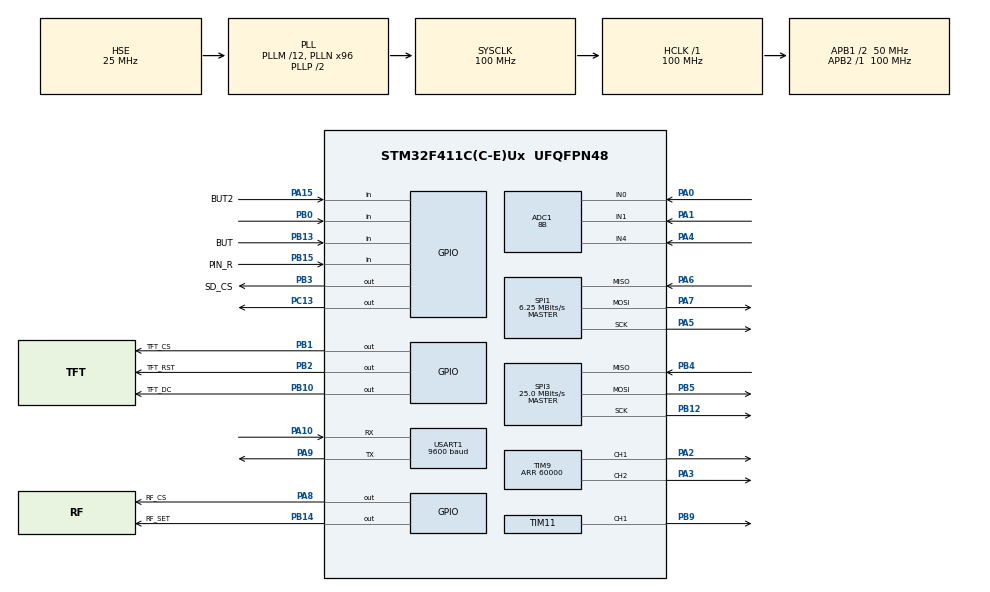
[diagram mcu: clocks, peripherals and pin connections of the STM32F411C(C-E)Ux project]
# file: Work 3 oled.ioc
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ADC1.Channel-10\#ChannelRegularConversion=ADC_CHANNEL_1
ADC1.Channel-11\#ChannelRegularConversion=ADC_CHANNEL_0
ADC1.Channel-14\#ChannelRegularConversion=ADC_CHANNEL_4
ADC1.ClockPrescaler=ADC_CLOCK_SYNC_PCLK_DIV4
ADC1.ContinuousConvMode=DISABLE
ADC1.DMAContinuousRequests=ENABLE
ADC1.InjNumberOfConversion=0
ADC1.NbrOfConversion=3
ADC1.NbrOfConversionFlag=1
ADC1.Rank-10\#ChannelRegularConversion=1
ADC1.Rank-11\#ChannelRegularConversion=2
ADC1.Rank-14\#ChannelRegularConversion=3
ADC1.Resolution=ADC_RESOLUTION_8B
ADC1.SamplingTime-10\#ChannelRegularConversion=ADC_SAMPLETIME_3CYCLES
ADC1.SamplingTime-11\#ChannelRegularConversion=ADC_SAMPLETIME_3CYCLES
ADC1.SamplingTime-14\#ChannelRegularConversion=ADC_SAMPLETIME_3CYCLES
ADC1.ScanConvMode=ENABLE
ADC1.master=1
Dma.ADC1.0.Direction=DMA_PERIPH_TO_MEMORY
Dma.ADC1.0.FIFOMode=DMA_FIFOMODE_ENABLE
Dma.ADC1.0.FIFOThreshold=DMA_FIFO_THRESHOLD_HALFFULL
Dma.ADC1.0.Instance=DMA2_Stream0
Dma.ADC1.0.MemBurst=DMA_MBURST_SINGLE
Dma.ADC1.0.MemDataAlignment=DMA_MDATAALIGN_HALFWORD
Dma.ADC1.0.MemInc=DMA_MINC_ENABLE
Dma.ADC1.0.Mode=DMA_CIRCULAR
Dma.ADC1.0.PeriphBurst=DMA_PBURST_SINGLE
Dma.ADC1.0.PeriphDataAlignment=DMA_PDATAALIGN_HALFWORD
Dma.ADC1.0.PeriphInc=DMA_PINC_DISABLE
Dma.ADC1.0.Priority=DMA_PRIORITY_MEDIUM
Dma.Request0=ADC1
FATFS._MAX_SS=4096
FATFS._USE_LFN=1
Mcu.Family=STM32F4
Mcu.Name=STM32F411C(C-E)Ux
Mcu.Package=UFQFPN48
NVIC.DMA2_Stream0_IRQn=true\:0\:0\:false\:false\:true\:false\:true\:true
NVIC.PriorityGroup=NVIC_PRIORITYGROUP_4
NVIC.RCC_IRQn=true\:0\:0\:false\:false\:true\:true\:false\:true
NVIC.SPI1_IRQn=true\:0\:0\:false\:false\:true\:true\:true\:true
NVIC.SPI3_IRQn=true\:0\:0\:false\:false\:true\:true\:true\:true
NVIC.TIM1_BRK_TIM9_IRQn=true\:0\:0\:false\:false\:true\:true\:true\:true
NVIC.TIM1_TRG_COM_TIM11_IRQn=true\:0\:0\:false\:false\:true\:true\:true\:true
NVIC.TIM1_UP_TIM10_IRQn=true\:0\:0\:false\:false\:true\:true\:true\:true
NVIC.TIM4_IRQn=true\:0\:0\:false\:false\:true\:true\:true\:true
NVIC.USART1_IRQn=true\:0\:0\:false\:false\:true\:true\:true\:true
PA0-WKUP.Signal=ADCx_IN0
PA1.Signal=ADCx_IN1
PA10.Mode=Asynchronous
PA10.Signal=USART1_RX
PA13.Mode=Serial_Wire
PA13.Signal=SYS_JTMS-SWDIO
PA14.Mode=Serial_Wire
PA14.Signal=SYS_JTCK-SWCLK
PA15.GPIO_Label=BUT2
PA15.GPIO_PuPd=GPIO_PULLUP
PA15.Signal=GPIO_Input
PA2.Signal=S_TIM9_CH1
PA3.Signal=S_TIM9_CH2
PA4.Signal=ADCx_IN4
PA5.Mode=Full_Duplex_Master
PA5.Signal=SPI1_SCK
PA6.Mode=Full_Duplex_Master
PA6.Signal=SPI1_MISO
PA7.Mode=Full_Duplex_Master
PA7.Signal=SPI1_MOSI
PA8.GPIO_Label=RF_CS
PA8.Signal=GPIO_Output
PA9.Mode=Asynchronous
PA9.Signal=USART1_TX
PB0.GPIO_PuPd=GPIO_PULLUP
PB0.Signal=GPIO_Input
PB1.GPIO_Label=TFT_CS
PB1.GPIO_Speed=GPIO_SPEED_FREQ_HIGH
PB1.Signal=GPIO_Output
PB10.GPIO_Label=TFT_DC
PB10.GPIO_Speed=GPIO_SPEED_FREQ_HIGH
PB10.Signal=GPIO_Output
PB12.Mode=Full_Duplex_Master
PB12.Signal=SPI3_SCK
PB13.GPIO_Label=BUT
PB13.GPIO_PuPd=GPIO_PULLUP
PB13.Signal=GPIO_Input
PB14.GPIO_Label=RF_SET
PB14.Signal=GPIO_Output
PB15.GPIO_Label=PIN_R
PB15.GPIO_PuPd=GPIO_NOPULL
PB15.Signal=GPIO_Input
PB2.GPIO_Label=TFT_RST
PB2.GPIO_ModeDefaultOutputPP=GPIO_MODE_OUTPUT_PP
PB2.GPIO_PuPd=GPIO_NOPULL
PB2.Signal=GPIO_Output
PB3.GPIO_Label=SD_CS
PB3.GPIO_Speed=GPIO_SPEED_FREQ_MEDIUM
PB3.Signal=GPIO_Output
PB4.Mode=Full_Duplex_Master
PB4.Signal=SPI3_MISO
PB5.Mode=Full_Duplex_Master
PB5.Signal=SPI3_MOSI
PB9.Signal=S_TIM11_CH1
PC13-ANTI_TAMP.Signal=GPIO_Output
PH0\ -\ OSC_IN.Mode=HSE-External-Oscillator
PH0\ -\ OSC_IN.Signal=RCC_OSC_IN
PH1\ -\ OSC_OUT.Mode=HSE-External-Oscillator
PH1\ -\ OSC_OUT.Signal=RCC_OSC_OUT
ProjectManager.HeapSize=0x200
ProjectManager.StackSize=0x400
ProjectManager.TargetToolchain=STM32CubeIDE
RCC.48MHZClocksFreq_Value=40000000
RCC.AHBFreq_Value=100000000
RCC.APB1CLKDivider=RCC_HCLK_DIV2
RCC.APB1Freq_Value=50000000
RCC.APB1TimFreq_Value=100000000
RCC.APB2Freq_Value=100000000
RCC.APB2TimFreq_Value=100000000
RCC.CortexFreq_Value=100000000
RCC.HCLKFreq_Value=100000000
RCC.HSE_VALUE=25000000
RCC.HSI_VALUE=16000000
RCC.LSE_VALUE=32768
RCC.PLLM=12
RCC.PLLN=96
RCC.PLLQ=5
RCC.PLLSourceVirtual=RCC_PLLSOURCE_HSE
RCC.SYSCLKFreq_VALUE=100000000
RCC.SYSCLKSource=RCC_SYSCLKSOURCE_PLLCLK
RCC.VCOOutputFreq_Value=200000000
SH.ADCx_IN0.0=ADC1_IN0,IN0
SH.ADCx_IN1.0=ADC1_IN1,IN1
SH.ADCx_IN4.0=ADC1_IN4,IN4
SH.S_TIM11_CH1.0=TIM11_CH1,PWM Generation1 CH1
SH.S_TIM9_CH1.0=TIM9_CH1,PWM Generation1 CH1
SH.S_TIM9_CH2.0=TIM9_CH2,PWM Generation2 CH2
SPI1.BaudRatePrescaler=SPI_BAUDRATEPRESCALER_16
SPI1.CalculateBaudRate=6.25 MBits/s
SPI1.Direction=SPI_DIRECTION_2LINES
SPI1.Mode=SPI_MODE_MASTER
SPI1.VirtualType=VM_MASTER
SPI3.BaudRatePrescaler=SPI_BAUDRATEPRESCALER_2
SPI3.CalculateBaudRate=25.0 MBits/s
SPI3.Direction=SPI_DIRECTION_2LINES
SPI3.Mode=SPI_MODE_MASTER
SPI3.VirtualType=VM_MASTER
TIM10.Period=50
TIM10.Prescaler=50000
TIM11.Channel=TIM_CHANNEL_1
TIM4.Period=500
TIM4.Prescaler=50000
TIM9.Channel-PWM\ Generation1\ CH1=TIM_CHANNEL_1
TIM9.Channel-PWM\ Generation2\ CH2=TIM_CHANNEL_2
TIM9.OCMode_PWM-PWM\ Generation2\ CH2=TIM_OCMODE_PWM1
TIM9.Period=60000
TIM9.Pulse-PWM\ Generation1\ CH1=30000
TIM9.Pulse-PWM\ Generation2\ CH2=30000
USART1.BaudRate=9600
USART1.Parity=PARITY_NONE
USART1.VirtualMode=VM_ASYNC
VP_FATFS_VS_Generic.Mode=User_defined
VP_TIM10_VS_ClockSourceINT.Mode=Enable_Timer
VP_TIM11_VS_ClockSourceINT.Mode=Enable_Timer
VP_TIM4_VS_ClockSourceINT.Mode=Internal
board=custom

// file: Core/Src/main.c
/* USER CODE BEGIN Header */
/**
  ******************************************************************************
  * @file           : main.c
  * @brief          : Main program body
  ******************************************************************************
  * @attention
  *
  * <h2><center>&copy; Copyright (c) 2021 STMicroelectronics.
  * All rights reserved.</center></h2>
  *
  * This software component is licensed by ST under BSD 3-Clause license,
  * the "License"; You may not use this file except in compliance with the
  * License. You may obtain a copy of the License at:
  *                        opensource.org/licenses/BSD-3-Clause
  *
  ******************************************************************************
  */
/* USER CODE END Header */
#include "main.h"
#include "fatfs.h"

/* USER CODE BEGIN Includes */
#include "fonts.h"
#include "ST7735.h"
#include "GFX_FUNCTIONS.h"
//#include "string.h"
#include "sd.h"
#include <stdio.h>
#include <stdbool.h>
#include <stdlib.h>
//--------------------------------------------------
/* USER CODE END Includes */

 ADC_HandleTypeDef hadc1;
DMA_HandleTypeDef hdma_adc1;

SPI_HandleTypeDef hspi1;
SPI_HandleTypeDef hspi3;

TIM_HandleTypeDef htim4;
TIM_HandleTypeDef htim9;
TIM_HandleTypeDef htim10;
TIM_HandleTypeDef htim11;

UART_HandleTypeDef huart1;

void SystemClock_Config(void);
static void MX_GPIO_Init(void);
static void MX_DMA_Init(void);
static void MX_ADC1_Init(void);
static void MX_TIM9_Init(void);
static void MX_SPI1_Init(void);
static void MX_SPI3_Init(void);
static void MX_USART1_UART_Init(void);
static void MX_TIM4_Init(void);
static void MX_TIM10_Init(void);
static void MX_TIM11_Init(void);

/* USER CODE BEGIN 0 */
_Bool disk_init = true;

_Bool flag_Menu = true;
_Bool flag_Result = false;
_Bool flag_Grafic = false;
_Bool flag_Status = false;
_Bool flag_Setings = false;

int8_t flag_punkt = 1;

_Bool flag_1 = false;
_Bool flag_2 = false;
_Bool flag_3 = false;
_Bool flag_4 = false;

volatile uint16_t data[3];
float u[3];

uint8_t PWM_4 = 0;

float NUM = 0;
float NUM2 = 0;
float x = 255;

float temp[100];
float press[100];
float alt[100];
float gyro_x[100];
float accX[100];
float accY[100];
float accZ[100];

int num[100];

_Bool flag_ServoOff = false;
_Bool flag_but = false;
_Bool flag_but2 = false;
_Bool SIGNAL = false;

_Bool GraficOne = true;
_Bool ResultOne = true;
_Bool StatusOne = true;
_Bool SetingsOne = true;
_Bool flag_PIN_SET = true;
_Bool flag_PIN_CS = true;
_Bool flag_PWM_BLK = false;

int xt = 0;
int yt = 0;
int xt0 ;
int yt0 ;
int st = 15;
int st_2;
int servoData = 0;
int Batdata = 0;
int dis = 0;
int resive_OK = 1;
volatile uint16_t Timer1 = 0;

typedef struct
{
float temperature;
float pressure;
float altitude;
float gyroX;
float accX;
float accY;
float accZ;
} Str;
static Str transmit;

uint8_t PWM_BLINK = 0;
uint8_t sost;
uint8_t pers;

////////////////////

uint16_t i;
uint8_t sect[512];// Буффер для чтения блока

// Write
FRESULT res; //результат выполнения
uint8_t wtext[]="1111 \nHello";

FILINFO fileInfo;
char *fn;
DIR dir;
DWORD fre_clust, fre_sect, tot_sect;

extern char str1[60];
uint32_t byteswritten, bytesread;
uint8_t result;
extern char USERPath[4]; /* logical drive path */
FATFS SDFatFs;
FATFS *fs;
FIL MyFile; //FIL
////////////////////

uint8_t b;

//void TIM9_UP_IRQHandler(void)
//{
//
//}

uint16_t charger[] =
{

		0x0000, 0x0000, 0x0000, 0x0000, 0x0000, 0xe101, 0x0000, 0x0000, 0x0000, 0x0000, 0x0000, 0x0000, 0x0000, 0x0000, 0x0000,
		0x0000, 0x0000, 0x0000, 0x6101, 0xe405, 0x8607, 0x8304, 0x0000, 0x0000, 0x0000, 0x0000, 0x0000, 0x0000, 0x0000, 0x0000,
		0x0000, 0x2101, 0xc405, 0x4507, 0xa506, 0x8506, 0x4607, 0xa101, 0x0000, 0x0000, 0x0000, 0x0000, 0x0000, 0x0000, 0x0000,
		0xe303, 0xe607, 0xc506, 0x8506, 0x8506, 0x8506, 0x8506, 0x0507, 0x0000, 0x0000, 0x0000, 0x0000, 0x0000, 0x0000, 0x0000,
		0x0000, 0x0102, 0xe506, 0xe506, 0x8506, 0x8506, 0x8506, 0xc506, 0x8405, 0x0000, 0x0000, 0x0000, 0x0000, 0x0000, 0x0000,
		0x0000, 0x0000, 0x0000, 0xe303, 0x4607, 0x8506, 0x8506, 0x0507, 0x6000, 0x0000, 0x0000, 0x0000, 0x0000, 0x0000, 0x0000,
		0x0000, 0x0000, 0x0000, 0x0000, 0x6000, 0xe506, 0x8506, 0xa506, 0x4506, 0x0000, 0x0000, 0x0000, 0x0000, 0x0000, 0x0000,
		0x0000, 0x0000, 0x0000, 0x6000, 0xa607, 0xc506, 0x8506, 0x8506, 0xc506, 0x6506, 0x0000, 0x0000, 0x0000, 0x0000, 0x0000,
		0x0000, 0x0000, 0x0000, 0x0000, 0x0000, 0x0405, 0x4607, 0xa506, 0x8506, 0xc506, 0xa506, 0x2000, 0x0000, 0x0000, 0x0000,
		0x0000, 0x0000, 0x0000, 0x0000, 0x0000, 0x0000, 0x6101, 0x8506, 0xa506, 0xc506, 0x2304, 0x0000, 0x0000, 0x0000, 0x0000,
		0x0000, 0x0000, 0x0000, 0x0000, 0x0000, 0x0000, 0x0000, 0x2000, 0xc506, 0xa506, 0x2506, 0x0000, 0x0000, 0x0000, 0x0000,
		0x0000, 0x0000, 0x0000, 0x0000, 0x0000, 0x0000, 0x0000, 0xe303, 0x6607, 0xc506, 0xe506, 0xa304, 0x0000, 0x0000, 0x0000,
		0x0000, 0x0000, 0x0000, 0x0000, 0x0000, 0x0000, 0x0000, 0x0000, 0x0000, 0x6405, 0x4507, 0x6607, 0x4102, 0x0000, 0x0000,
		0x0000, 0x0000, 0x0000, 0x0000, 0x0000, 0x0000, 0x0000, 0x0000, 0x0000, 0x0000, 0xc101, 0xe506, 0xc607, 0x4000, 0x0000,
		0x0000, 0x0000, 0x0000, 0x0000, 0x0000, 0x0000, 0x0000, 0x0000, 0x0000, 0x0000, 0x0000, 0x0000, 0x0304, 0x4607, 0x0000,
		0x0000, 0x0000, 0x0000, 0x0000, 0x0000, 0x0000, 0x0000, 0x0000, 0x0000, 0x0000, 0x0000, 0x0000, 0x0000, 0xa000, 0x2203

};

uint16_t Strel[] =		// СТРЕЛКА - УКАЗАТЕЛЬ
{
		  0x0000, 0x0000, 0x0000, 0x1d05, 0x0000, 0x0000, 0x0000,
		  0x0000, 0x0000, 0x0000, 0x1d05, 0x1d05, 0x0000, 0x0000,
		  0x1d05, 0x1d05, 0x1d05, 0x1d05, 0x1d05, 0x0000, 0x0000,
		  0x1d05, 0x0000, 0x0000, 0x0000, 0x0000, 0x1d05, 0x0000,
		  0x1d05, 0x0000, 0x0000, 0x0000, 0x0000, 0x0000, 0x1d05,
		  0x1d05, 0x0000, 0x0000, 0x0000, 0x0000, 0x0000, 0x1d05,
		  0x1d05, 0x0000, 0x0000, 0x0000, 0x0000, 0x1d05, 0x0000,
		  0x1d05, 0x1d05, 0x1d05, 0x1d05, 0x1d05, 0x0000, 0x0000,
		  0x0000, 0x0000, 0x0000, 0x1d05, 0x1d05, 0x0000, 0x0000,
		  0x0000, 0x0000, 0x0000, 0x1d05, 0x0000, 0x0000, 0x0000
};

void indicator(_Bool a)
	{
		if(flag_punkt == 1)
		{
			ST7735_DrawImage(3, 16, 7, 10, Strel); // движение указателя
			ST7735_FillRectangle(3, 28, 7, 10, BLACK);
			ST7735_FillRectangle(3, 40, 7, 10, BLACK);
			ST7735_FillRectangle(3, 52, 7, 10, BLACK);
		}
		if(flag_punkt == 2)
		{
			ST7735_FillRectangle(3, 16, 7, 10, BLACK);
			ST7735_DrawImage(3, 28, 7, 10, Strel);
			ST7735_FillRectangle(3, 40, 7, 10, BLACK);
			ST7735_FillRectangle(3, 52, 7, 10, BLACK);
		}
		if(flag_punkt == 3)
		{
			ST7735_FillRectangle(3, 16, 7, 10, BLACK);
			ST7735_FillRectangle(3, 28, 7, 10, BLACK);
			ST7735_DrawImage(3, 40, 7, 10, Strel);
			ST7735_FillRectangle(3, 52, 7, 10, BLACK);
		}
		if(flag_punkt == 4)
		{
			ST7735_FillRectangle(3, 16, 7, 10, BLACK);
			ST7735_FillRectangle(3, 28, 7, 10, BLACK);
			ST7735_FillRectangle(3, 40, 7, 10, BLACK);
			ST7735_DrawImage(3, 52, 7, 10, Strel);
		}
	}

/* USER CODE END 0 */

int main(void)
{

  /* MCU Configuration--------------------------------------------------------*/

  /* Reset of all peripherals, Initializes the Flash interface and the Systick. */
  HAL_Init();

  /* Configure the system clock */
  SystemClock_Config();

  /* Initialize all configured peripherals */
  MX_GPIO_Init();
  MX_DMA_Init();
  MX_ADC1_Init();
  MX_TIM9_Init();
  MX_SPI1_Init();
  MX_FATFS_Init();
  MX_SPI3_Init();
  MX_USART1_UART_Init();
  MX_TIM4_Init();
  MX_TIM10_Init();
  MX_TIM11_Init();
  /* USER CODE BEGIN 2 */
  HAL_TIM_Base_Start_IT(&htim9);
  HAL_TIM_Base_Start_IT(&htim4);
  HAL_TIM_Base_Start_IT(&htim10);

  //////////////////////////////////////////////////////////////////////////////
  /*
  disk_initialize(SDFatFs.drv);
  //write

  if(f_mount(&SDFatFs, (TCHAR const*)USERPath, 0) != FR_OK)
  {
	  //Error_Handler();	// комментируем хендлеры чтобы при включении и одновременном отустствии карты дисплей не зависал
  }
  else
  {
	  if(f_open(&MyFile, "mywrite.txt", FA_OPEN_ALWAYS|FA_WRITE) != FR_OK) // FA_OPEN_ALWAYS|FA_WRITE
	  {
		  //Error_Handler();	// комментируем хендлеры чтобы при включении и одновременном отустствии карты дисплей не зависал
	  }
	  else
	  {
		  // res = f_write(&MyFile, &wtext, sizeof(wtext), (void*)&byteswritten);
		  // wtext[]="1111 \nHello";
		  char buff[] = "123";
		  //for(int i = 0; i <= 4; i ++)
		  //{
		  //res = f_write(&MyFile, buff, sizeof(buff), (void*)&byteswritten);//wtext
		  b = f_size(&MyFile);
		  res = f_lseek(&MyFile, b);
		  //res = f_write(&MyFile, buff, sizeof(buff), (void*)&byteswritten);//wtext
		  res = f_write(&MyFile, "Temperature ", 12, (void*)&byteswritten);//wtext
		  b = f_size(&MyFile);
		  res = f_lseek(&MyFile, b);
		  res = f_write(&MyFile, "Pressure ", 9, (void*)&byteswritten);//wtext
		  b = f_size(&MyFile);
		  res = f_lseek(&MyFile, b);
		  res = f_write(&MyFile, "Altitude ", 9, (void*)&byteswritten);//wtext
		  b = f_size(&MyFile);
		  res = f_lseek(&MyFile, b);
		  res = f_lseek(&MyFile, 1020);
		  res = f_write(&MyFile, "3245 ", 4, (void*)&byteswritten);//wtext
		  if((byteswritten == 0) || (res != FR_OK))
		  {
			  Error_Handler();
		  }
		  f_close(&MyFile);
		  //f_sync(&MyFile);
	  }
  }
  FATFS_UnLinkDriver(USERPath);
  */
  //////////////////////////////////////////////////	////////////////////////////

  ST7735_Init(0);

  HAL_TIM_PWM_Start_IT(&htim9, TIM_CHANNEL_1);
  HAL_TIM_PWM_Start_IT(&htim9, TIM_CHANNEL_2);

  HAL_TIM_PWM_Start_IT(&htim11, TIM_CHANNEL_1);
  TIM11->CCR1 = 65535;
  sost = TIM11->CCR1;
  pers = 100;

  //HAL_ADC_Start_IT(&hadc1); //отключил потому что не нужен так как не используем прерывания
  HAL_ADC_Start_DMA(&hadc1, (uint32_t*) &data, 3);

  HAL_UART_Receive_IT(&huart1, (uint8_t*) &transmit, sizeof(transmit));
  TIM9->CCR1 = 0;
  TIM9->CCR2 = 0;

  ST7735_SetRotation(3);
  fillScreen(BLACK);

  HAL_GPIO_WritePin(GPIOA, GPIO_PIN_8, GPIO_PIN_SET); // Включаем радиомодуль SV610
  HAL_GPIO_WritePin(GPIOB, GPIO_PIN_14, GPIO_PIN_SET);	// Ставим радиомодуль SV610 сразу в режим работы

  HAL_Delay(500);
  //////////////////////////////////////////////////////////////////////////////
  /* USER CODE END 2 */

  /* Infinite loop */
  /* USER CODE BEGIN WHILE */
  while (1)
  {
	  char BUF[2];
	  sprintf(BUF, "%d", resive_OK);
	  ST7735_WriteString(140, 90, BUF, Font_7x10, RED, BLACK);
	  if(resive_OK < 10) fillRect(147, 90, 7, 10, BLACK);
	  //////////////////////////////////////////////////////////////////////////////
	  if (resive_OK == 99) resive_OK = 0;
	  temp[resive_OK] = transmit.temperature;
	  press[resive_OK] = ((transmit.pressure / 1000)*100)/100;
	  alt[resive_OK] = transmit.altitude;
	  gyro_x[resive_OK] = transmit.gyroX;//
	  accX[resive_OK] = transmit.accX;
	  accY[resive_OK] = transmit.accY;
	  accZ[resive_OK] = transmit.accZ;
	  num[resive_OK] = resive_OK;
	  //////////////////////////////////////////////////////////////////////////////
	  ////////////////////Функция записи данных на флешку////////////////////////////////
	  if((HAL_GPIO_ReadPin(GPIOA, GPIO_PIN_15) == GPIO_PIN_SET)) flag_but2 = 1;
	  if(HAL_GPIO_ReadPin(GPIOA, GPIO_PIN_15) == GPIO_PIN_RESET)
	  {
		  if(disk_init == false) ST7735_WriteString(2, 110, "No SD-Card...        ", Font_7x10, RED, BLACK);
		  else if(disk_init == true)
		  {
			  disk_initialize(SDFatFs.drv);
			  disk_init = false;

			  if(f_mount(&SDFatFs, (TCHAR const*)USERPath, 0) != FR_OK)
			  {
				  //Error_Handler();	// комментируем хендлеры чтобы при включении и одновременном отустствии карты дисплей не зависал
			  }
			  else
			  {
				  if(f_open(&MyFile, "result.txt", FA_CREATE_ALWAYS|FA_WRITE) != FR_OK) // FA_OPEN_ALWAYS|FA_WRITE
				  {
					  //Error_Handler();	// комментируем хендлеры чтобы при включении и одновременном отустствии карты дисплей не зависал
				  }
				  else
				  {
					  res = f_write(&MyFile, " #       Temp            Press           Alt             Gyro          Acc_x           Acc_y           Acc_z\r\n", 112, (void*)&byteswritten);//146
					  b = f_size(&MyFile);
					  ST7735_WriteString(2, 110, "Recording begin...  ", Font_7x10, GREEN, BLACK);
					  for(int i = 0; i < resive_OK; i++)
					  {
						  char DaTa[163];
						  sprintf(DaTa, "№%d\t Temp: %.2f\t Press: %.2f\t Alt: %.2f\t Gyro: %.2f\t Acc_x: %.2f\t Acc_y: %.2f\t Acc_z: %.2f", num[i], temp[i], press[i], alt[i], gyro_x[i], accX[i], accY[i], accZ[i]);
						  res = f_write(&MyFile, DaTa, 98, (void*)&byteswritten);
						  b = f_size(&MyFile);

						  char dat[4] = "\r\n";
						  res = f_write(&MyFile, dat, 4, (void*)&byteswritten);
						  b = f_size(&MyFile);
					  }
					  if((byteswritten == 0) || (res != FR_OK))
					  {
						  Error_Handler();
					  }
					  char Num_Resive[20];
					  sprintf(Num_Resive, " Full data byte:%d",resive_OK);
					  res = f_write(&MyFile, Num_Resive, 18, (void*)&byteswritten);

					  f_close(&MyFile);
					  FATFS_UnLinkDriver(USERPath);
					  ST7735_WriteString(2, 110, "Recording completed.", Font_7x10, RED, BLACK);
					  resive_OK = 0;
				  }
			  }
		  }
			  flag_but = 1;
		  }
	  else flag_but = 0;
	  if(flag_but == 1 && flag_but2 == 1)
	  {
		  flag_but2 = 0;
	  }
	  //////////////////////////////////////////////////////////////////////////////
	  //////////////////////////////////////////////////////////////////////////////
	  HAL_TIM_PWM_Start_IT(&htim9, TIM_CHANNEL_1);
	  HAL_TIM_PWM_Start_IT(&htim9, TIM_CHANNEL_2);

	  HAL_ADC_Start_IT(&hadc1);

	  HAL_UART_Receive_IT(&huart1, (uint8_t*) &transmit, sizeof(transmit));

	  //////////////////////////////////////////////////////////////////////////////
	  if(flag_Menu == true)//---------------------------------------------MENU
	  {
		  drawRect(0, 0, 160, 128, WHITE);	// оконтовка
		  ST7735_WriteString(2, 2, "Menu", Font_7x10, GREEN, BLACK);
		  //////////////////////////////////////////////////////////////////////////////
		  ///////// Вывод заряда аккумулятора
		  drawRect(140, 1, 18, 9, WHITE); // заряд аккумулятора
		  // замеряет заряд на аккумулятора на 4.2 вольта в пределе от 2.5 до 3.3, так как на 2.5 STM ОТРУБАЕТСЯ

		  /////////// Зарядка//////////////
		  if((HAL_GPIO_ReadPin(GPIOB, GPIO_PIN_15) == GPIO_PIN_SET))
		  {
			  ST7735_DrawImage(141, 11, 15, 16, charger);
		  }
		  else fillRect(141, 11, 15, 16, BLACK);

		  if(Batdata <= 128 && Batdata >= 110)
		  {
			  fillRect(141, 2, 16, 7, GREEN);
		  }
		  else if(Batdata <= 109 && Batdata >= 101)
		  {
			  fillRect(141, 2, 16, 7, YELLOW);
		  }
		  else if(Batdata <= 100 && Batdata >= 90)
		  {
			  fillRect(141, 2, 16, 7, RED);
		  }
		  //////////////////////////////////////////////////////////////////////////////
		  indicator(flag_punkt);
		  //////////////////////////////////////////////////////////////////////////////
		  ST7735_WriteString(10, 16, ":Result", Font_7x10, BLUE, BLACK);
		  if(flag_punkt == 1)//-----------------Result
		  {
			  flag_1 = true;
			  flag_2 = false;
			  flag_3 = false;
			  flag_4 = false;
			 // ResultOne = true;
		  }
		  ST7735_WriteString(10, 28, ":Grafic", Font_7x10, RED, BLACK);
		  if(flag_punkt == 2) //----------------Grafic
		  {
			  flag_1 = false;
			  flag_2 = true;
			  flag_3 = false;
			  flag_4 = false;
			  GraficOne = true;
		  }
		  ST7735_WriteString(10, 40, ":Status", Font_7x10, GREEN, BLACK);
		  if(flag_punkt == 3)//-----------------STATUS
		  {
			  flag_1 = false;
			  flag_2 = false;
			  flag_3 = true;
			  flag_4 = false;
		  }
		  ST7735_WriteString(10, 52, ":Setings", Font_7x10, BLUE, BLACK);
		  if(flag_punkt == 4)//-----------------------SETINGS
		  {
			  flag_1 = false;
			  flag_2 = false;
			  flag_3 = false;
			  flag_4 = true;
		  }
		  //////////////////////////////////////////////////////////////////////////////

		  // вывод значений с АЦП джойстика и заряда аккумулятора
		  char buf20[4];
		  sprintf(buf20, "%.2f", u[0]);
		  //ST7735_WriteString(2, 20, buf20, Font_7x10, GREEN, BLACK);

		  char buf10[4];
		  sprintf(buf10, "%.2f", u[1]);
		  //ST7735_WriteString(2, 40, buf10, Font_7x10, GREEN, BLACK);

		  char buf30[4];
		  u[2] = ((float)data[2])*3.3/256;
		  sprintf(buf30, "%.2f", u[2]);
		  //ST7735_WriteString(80, 40, buf30, Font_7x10, GREEN, BLACK);	//заряд акума

		  char buf31[4];
		  sprintf(buf31, "%.2f", Batdata);
		  //ST7735_WriteString(80, 50, buf31, Font_7x10, GREEN, BLACK);
		  ///////////////////////////////////////////////////////////////////////
		  if((HAL_GPIO_ReadPin(GPIOB, GPIO_PIN_0) == GPIO_PIN_SET)) flag_but2 = 1;
		  if((HAL_GPIO_ReadPin(GPIOB, GPIO_PIN_0) == GPIO_PIN_RESET))
		  {
			  flag_but = 1;
		  }
		  else flag_but = 0;
		  if(flag_but == 1 && flag_but2 == 1)
		  {
			  flag_but2 = 0;

			  flag_Menu = false;
			  if(flag_1 == true)
			  {
				  flag_Result = true;
			  }
			  if(flag_2 == true)
			  {
				  flag_Grafic = true;
			  }
			  if(flag_3 == true)
			  {
				  flag_Status = true;
			  }
			  if(flag_4 == true)
			  {
				  flag_Setings = true;
			  }
			  fillScreen(BLACK);
		  }

	  }
	  //////////////////////////////////////////////////////////////////////////////
	  if(flag_Result == true && flag_1  == true) //--------------------------------------------RESULT
	  {
		  HAL_UART_Receive_IT(&huart1, (uint8_t*) &transmit, sizeof(transmit));
		  /*
		  if(ResultOne == true)	//функция которая выполняется один раз
		  {
			  ResultOne = false;
			  drawLine(159, 63, 1, 63, YELLOW);
			  xt = 0;
		  }
		  */
		  drawRect(0, 0, 160, 128, WHITE);

		  ST7735_WriteString(2, 2, "Result", Font_7x10, GREEN, BLACK);
		  //////////////////////////////////////////////////////////////////////////////
		  //температура, давление, высота над уровнем моря
		  char buf1[4];
		  sprintf(buf1, "Temperature:%.2fC", transmit.temperature); // игнорировать!
		  ST7735_WriteString(2, 20, buf1, Font_7x10, GREEN, BLACK);

		  char buf2[4];
		  sprintf(buf2, "Pressure:   %.2fkPa", transmit.pressure / 1000); // игнорировать!
		  ST7735_WriteString(2, 30, buf2, Font_7x10, GREEN, BLACK);

		  char buf3[4];
		  sprintf(buf3, "Altitude:   %.2fm", transmit.altitude); // игнорировать!
		  ST7735_WriteString(2, 40, buf3, Font_7x10, GREEN, BLACK);

		  //Г�?РОСКОП X
		  char buf41[4];
		  sprintf(buf41, "Gyro_x: %.2f", transmit.gyroX); // игнорировать!
		  ST7735_WriteString(2, 60, buf41, Font_7x10, BLUE, BLACK);
		  //Г�?РОСКОП Y
		  char buf42[4];
		  //sprintf(buf42, "Gyro_y: %.2f", transmit.gyroY); // игнорировать!
		  //ST7735_WriteString(2, 70, buf42, Font_7x10, BLUE, BLACK);
		  //Г�?РОСКОП Z
		  char buf43[4];
		  //sprintf(buf43, "Gyro_z: %.2f", transmit.gyroZ); // игнорировать!
		  //ST7735_WriteString(2, 80, buf43, Font_7x10, BLUE, BLACK);

		  //УСКОРЕН�?Е X
		  char buf5[4];
		  sprintf(buf5, "Acc_x:%.2f", transmit.accX); // игнорировать!
		  ST7735_WriteString(2, 90, buf5, Font_7x10, MAGENTA, BLACK);
		  //УСКОРЕН�?Е Y
		  char buf6[4];
		  sprintf(buf6, "Acc_y:%.2f", transmit.accY); // игнорировать!
		  ST7735_WriteString(2, 100, buf6, Font_7x10, MAGENTA, BLACK);
		  //УСКОРЕН�?Е Z
		  char buf7[4];
		  sprintf(buf7, "Acc_z:%.2f", transmit.accZ); // игнорировать!
		  ST7735_WriteString(2, 110, buf7, Font_7x10, MAGENTA, BLACK);

		  //////////////////////////////////////////////////////////////////////////////
		  if((HAL_GPIO_ReadPin(GPIOB, GPIO_PIN_0) == GPIO_PIN_SET)) flag_but2 = 1;
		  if((HAL_GPIO_ReadPin(GPIOB, GPIO_PIN_0) == GPIO_PIN_RESET))
		  {
			  flag_but = 1;
		  }
		  else flag_but = 0;
		  if(flag_but == 1 && flag_but2 == 1)
		  {
			  flag_but2 = 0;

			  flag_Result = false;
			  flag_1  = false;
			  flag_Menu = true;
			  fillScreen(BLACK);
		  }
		  //////////////////////////////////////////////////////////////////////////////
	  }

	  //////////////////////////////////////////////////////////////////////////////
	  if(flag_Grafic == true && flag_2  == true) //--------------------------------------------GRAFIC
	  {
		  if(GraficOne == true)
		  {
			  GraficOne = false;
			  drawLine(159, 63, 1, 63, YELLOW);
			  xt = 0;
		  }
		  drawRect(0, 0, 160, 128, WHITE);
		  ST7735_WriteString(2, 2, "Grafic", Font_7x10, GREEN, BLACK);
		  if(xt == 158)	// Обновление экрана при максимальной длине графика
		  {
			  xt = 0;
			  ST7735_FillRectangle(1, 1, 158, 126, BLACK);
			  drawLine(159, 63, 1, 63, YELLOW);
			  drawRect(0, 0, 160, 128, WHITE);
			  ST7735_WriteString(2, 2, "Grafic", Font_7x10, GREEN, BLACK);
		  }
		  xt++;
		  yt = 63 - (transmit.altitude)/2;
		  drawPixel(xt, yt, WHITE);

		  if((HAL_GPIO_ReadPin(GPIOB, GPIO_PIN_0) == GPIO_PIN_SET)) flag_but2 = 1;
		  if((HAL_GPIO_ReadPin(GPIOB, GPIO_PIN_0) == GPIO_PIN_RESET))
		  {
			  flag_but = 1;
		  }
		  else flag_but = 0;
		  if(flag_but == 1 && flag_but2 == 1)
		  {
			  flag_but2 = 0;

			  flag_Grafic = false;
			  flag_2  = false;
			  flag_Menu = true;
			  fillScreen(BLACK);
		  }
	  }
	  //////////////////////////////////////////////////////////////////////////////
	  if(flag_Status == true && flag_3  == true) //--------------------------------------------STATUS
	  {
		  if(StatusOne == true)
		  {
			  StatusOne = false;
			  xt = 0;
		  }
		  drawRect(0, 0, 160, 128, WHITE);
		  ST7735_WriteString(2, 2, "Status", Font_7x10, GREEN, BLACK);

		  if(Batdata >= 5) ST7735_WriteString (2, 20, "Power: connected", Font_7x10, GREEN, BLACK);
          else if (Batdata < 5) ST7735_WriteString (2, 20, "Power: disabled ", Font_7x10, RED, BLACK);

		  if(Batdata <= 128 && Batdata >= 110) ST7735_WriteString (2, 30, "Battery: HIGH  ", Font_7x10, GREEN, BLACK);
		  else if(Batdata <= 109 && Batdata >= 101) ST7735_WriteString (2, 30, "Battery: MEDIUM", Font_7x10, YELLOW, BLACK);
		  else if(Batdata <= 100 && Batdata >= 90) ST7735_WriteString (2, 30, "Battery: LOW   ", Font_7x10, RED, BLACK);

		  if(flag_PIN_SET == true) ST7735_WriteString(2, 40, "RF: work", Font_7x10, GREEN, BLACK);
		  else if(flag_PIN_SET == false) ST7735_WriteString(2, 40, "RF: customization", Font_7x10, BLUE, BLACK);

		  if(flag_PIN_CS == true)ST7735_WriteString(2, 50, "RF: ON ", Font_7x10, GREEN, BLACK);
		  else if (flag_PIN_CS == false) ST7735_WriteString(2, 50, "RF: OFF", Font_7x10, RED, BLACK);
		  /*
		   * СЮДА БЫ ЕЩЕ ДОБАВ�?ТЬ ФУНЦ�?Ю ПРОВЕРК�? СОСТОЯН�?Я РАД�?ОМОДУЛЯ, РАБОЧУЮ ЧАСТОТУ, КАЧЕСТВО СВЯЗ�?
		   * ТАКЖЕ ДОБАВ�?ТЬ ФУНКЦ�?Ю ПРОВЕРК�? ПР�?Н�?МАЕМЫХ �? ОТПРАВЛЯЕМЫХ ДАННЫХ
		   * ЕЩЕ ЧТО Н�?БУДЬ МОЖНО ДОБАВ�?ТЬ, ФАНТАЗ�?Я РЕШ�?Т ЧТО ДОБАВ�?ТЬ...
		   */

		  if((HAL_GPIO_ReadPin(GPIOB, GPIO_PIN_0) == GPIO_PIN_SET)) flag_but2 = 1;
		  if((HAL_GPIO_ReadPin(GPIOB, GPIO_PIN_0) == GPIO_PIN_RESET))
		  {
			  flag_but = 1;
		  }
		  else flag_but = 0;
		  if(flag_but == 1 && flag_but2 == 1)
		  {
			  flag_but2 = 0;

			  flag_Status = false;
			  flag_3  = false;
			  flag_Menu = true;
			  fillScreen(BLACK);
		  }
	  }
	  //////////////////////////////////////////////////////////////////////////////
	  if(flag_Setings == true && flag_4  == true) //--------------------------------------------SETINGS
	  {
		  if(SetingsOne == true)
		  {
			  SetingsOne = false;
			  xt = 0;
		  }

		  drawRect(0, 0, 160, 128, WHITE);
		  ST7735_WriteString(2, 2, "Setings", Font_7x10, GREEN, BLACK);
		  //////////////////////////////////////////////////////////////////////////////
		  if(flag_PWM_BLK == false) indicator(flag_punkt);
		  //////////////////////////////////////////////////////////////////////////////

		  ST7735_WriteString(10, 52, ":Back <-", Font_7x10, GREEN, BLACK);

		  if(flag_PIN_SET == true)ST7735_WriteString(10, 16, ":RF work         ", Font_7x10, GREEN, BLACK);
		  else if (flag_PIN_SET == false) ST7735_WriteString(10, 16, ":RF customization", Font_7x10, BLUE, BLACK);

		  if(flag_PIN_CS == true)ST7735_WriteString(10, 28, ":RF ON ", Font_7x10, GREEN, BLACK);
		  else if (flag_PIN_CS == false) ST7735_WriteString(10, 28, ":RF OFF", Font_7x10, RED, BLACK);

		  char buf15[3];
		  sprintf(buf15, ":LED %d%%", pers); // игнорировать!
		  if(pers != 100) ST7735_FillRectangle(65, 40, 7, 10, BLACK);
		  if(pers == 0) ST7735_FillRectangle(58, 40, 7, 10, BLACK);

		  if(pers == 100) ST7735_WriteString(10, 40, buf15, Font_7x10, GREEN, BLACK);
		  else if(pers == 80) ST7735_WriteString(10, 40, buf15, Font_7x10, ORANGE, BLACK);
		  else if(pers == 60) ST7735_WriteString(10, 40, buf15, Font_7x10, YELLOW, BLACK);
		  else if(pers == 40) ST7735_WriteString(10, 40, buf15, Font_7x10, YELLOW, BLACK);
		  else if(pers == 20) ST7735_WriteString(10, 40, buf15, Font_7x10, RED, BLACK);
		  else if(pers == 0) ST7735_WriteString(10, 40, buf15, Font_7x10, RED, BLACK);

		  char buf25[10];
		  sprintf(buf25, "%d", sost); // игнорировать!
		  //ST7735_WriteString(10, 80, buf25, Font_7x10, MAGENTA, BLACK);	//вывод значение регистра напряжения подсветки
		  if(flag_punkt == 1)
		  {
			  if((HAL_GPIO_ReadPin(GPIOB, GPIO_PIN_0) == GPIO_PIN_SET)) flag_but2 = 1;
			  if((HAL_GPIO_ReadPin(GPIOB, GPIO_PIN_0) == GPIO_PIN_RESET))
			  {
				  flag_but = 1;
			  }
			  else flag_but = 0;
			  if(flag_but == 1 && flag_but2 == 1)
			  {
				  flag_PIN_SET ^= true;
				  HAL_GPIO_TogglePin(GPIOB, GPIO_PIN_14);
				  flag_but2 = 0;
			  }
		  }

		  if(flag_punkt == 2)
		  {
			  if((HAL_GPIO_ReadPin(GPIOB, GPIO_PIN_0) == GPIO_PIN_SET)) flag_but2 = 1;
			  if((HAL_GPIO_ReadPin(GPIOB, GPIO_PIN_0) == GPIO_PIN_RESET))
			  {
				  flag_but = 1;
			  }
			  else flag_but = 0;
			  if(flag_but == 1 && flag_but2 == 1)
			  {
				  flag_PIN_CS ^= true;
				  HAL_GPIO_TogglePin(GPIOA, GPIO_PIN_8);
				  flag_but2 = 0;
			  }
		  }

		  if(flag_punkt == 4)
		  {
			  if((HAL_GPIO_ReadPin(GPIOB, GPIO_PIN_0) == GPIO_PIN_SET)) flag_but2 = 1;
			  if((HAL_GPIO_ReadPin(GPIOB, GPIO_PIN_0) == GPIO_PIN_RESET))
			  {
				  flag_but = 1;
			  }
			  else flag_but = 0;
			  if(flag_but == 1 && flag_but2 == 1)
			  {
				  flag_but2 = 0;

				  flag_Setings = false;
				  flag_4  = false;
				  flag_Menu = true;
				  fillScreen(BLACK);
			  }
		  }

		  if(flag_punkt == 3)
		  {
			  if((HAL_GPIO_ReadPin(GPIOB, GPIO_PIN_0) == GPIO_PIN_SET)) flag_but2 = 1;
			  if((HAL_GPIO_ReadPin(GPIOB, GPIO_PIN_0) == GPIO_PIN_RESET))
			  {
				  flag_but = 1;
			  }
			  else flag_but = 0;
			  if(flag_but == 1 && flag_but2 == 1)
			  {
				  flag_PWM_BLK ^= true;

				  flag_but2 = 0;
			  }
		  }
	  }
	  HAL_UART_Receive_IT(&huart1, (uint8_t*) &transmit, sizeof(transmit));
	  //////////////////////////////////////////////////////////////////////////////

    /* USER CODE END WHILE */

  }
}

void SystemClock_Config(void)
{
  RCC_OscInitTypeDef RCC_OscInitStruct = {0};
  RCC_ClkInitTypeDef RCC_ClkInitStruct = {0};

  /** Configure the main internal regulator output voltage
  */
  __HAL_RCC_PWR_CLK_ENABLE();
  __HAL_PWR_VOLTAGESCALING_CONFIG(PWR_REGULATOR_VOLTAGE_SCALE1);

  /** Initializes the RCC Oscillators according to the specified parameters
  * in the RCC_OscInitTypeDef structure.
  */
  RCC_OscInitStruct.OscillatorType = RCC_OSCILLATORTYPE_HSE;
  RCC_OscInitStruct.HSEState = RCC_HSE_ON;
  RCC_OscInitStruct.PLL.PLLState = RCC_PLL_ON;
  RCC_OscInitStruct.PLL.PLLSource = RCC_PLLSOURCE_HSE;
  RCC_OscInitStruct.PLL.PLLM = 12;
  RCC_OscInitStruct.PLL.PLLN = 96;
  RCC_OscInitStruct.PLL.PLLP = RCC_PLLP_DIV2;
  RCC_OscInitStruct.PLL.PLLQ = 5;
  if (HAL_RCC_OscConfig(&RCC_OscInitStruct) != HAL_OK)
  {
    Error_Handler();
  }

  /** Initializes the CPU, AHB and APB buses clocks
  */
  RCC_ClkInitStruct.ClockType = RCC_CLOCKTYPE_HCLK|RCC_CLOCKTYPE_SYSCLK
                              |RCC_CLOCKTYPE_PCLK1|RCC_CLOCKTYPE_PCLK2;
  RCC_ClkInitStruct.SYSCLKSource = RCC_SYSCLKSOURCE_PLLCLK;
  RCC_ClkInitStruct.AHBCLKDivider = RCC_SYSCLK_DIV1;
  RCC_ClkInitStruct.APB1CLKDivider = RCC_HCLK_DIV2;
  RCC_ClkInitStruct.APB2CLKDivider = RCC_HCLK_DIV1;

  if (HAL_RCC_ClockConfig(&RCC_ClkInitStruct, FLASH_LATENCY_3) != HAL_OK)
  {
    Error_Handler();
  }
}

static void MX_ADC1_Init(void)
{

  ADC_ChannelConfTypeDef sConfig = {0};

  /** Configure the global features of the ADC (Clock, Resolution, Data Alignment and number of conversion)
  */
  hadc1.Instance = ADC1;
  hadc1.Init.ClockPrescaler = ADC_CLOCK_SYNC_PCLK_DIV4;
  hadc1.Init.Resolution = ADC_RESOLUTION_8B;
  hadc1.Init.ScanConvMode = ENABLE;
  hadc1.Init.ContinuousConvMode = DISABLE;
  hadc1.Init.DiscontinuousConvMode = DISABLE;
  hadc1.Init.ExternalTrigConvEdge = ADC_EXTERNALTRIGCONVEDGE_NONE;
  hadc1.Init.ExternalTrigConv = ADC_SOFTWARE_START;
  hadc1.Init.DataAlign = ADC_DATAALIGN_RIGHT;
  hadc1.Init.NbrOfConversion = 3;
  hadc1.Init.DMAContinuousRequests = ENABLE;
  hadc1.Init.EOCSelection = ADC_EOC_SINGLE_CONV;
  if (HAL_ADC_Init(&hadc1) != HAL_OK)
  {
    Error_Handler();
  }

  /** Configure for the selected ADC regular channel its corresponding rank in the sequencer and its sample time.
  */
  sConfig.Channel = ADC_CHANNEL_1;
  sConfig.Rank = 1;
  sConfig.SamplingTime = ADC_SAMPLETIME_3CYCLES;
  if (HAL_ADC_ConfigChannel(&hadc1, &sConfig) != HAL_OK)
  {
    Error_Handler();
  }

  /** Configure for the selected ADC regular channel its corresponding rank in the sequencer and its sample time.
  */
  sConfig.Channel = ADC_CHANNEL_0;
  sConfig.Rank = 2;
  if (HAL_ADC_ConfigChannel(&hadc1, &sConfig) != HAL_OK)
  {
    Error_Handler();
  }

  /** Configure for the selected ADC regular channel its corresponding rank in the sequencer and its sample time.
  */
  sConfig.Channel = ADC_CHANNEL_4;
  sConfig.Rank = 3;
  if (HAL_ADC_ConfigChannel(&hadc1, &sConfig) != HAL_OK)
  {
    Error_Handler();
  }

}

static void MX_SPI1_Init(void)
{

  /* SPI1 parameter configuration*/
  hspi1.Instance = SPI1;
  hspi1.Init.Mode = SPI_MODE_MASTER;
  hspi1.Init.Direction = SPI_DIRECTION_2LINES;
  hspi1.Init.DataSize = SPI_DATASIZE_8BIT;
  hspi1.Init.CLKPolarity = SPI_POLARITY_LOW;
  hspi1.Init.CLKPhase = SPI_PHASE_1EDGE;
  hspi1.Init.NSS = SPI_NSS_SOFT;
  hspi1.Init.BaudRatePrescaler = SPI_BAUDRATEPRESCALER_16;
  hspi1.Init.FirstBit = SPI_FIRSTBIT_MSB;
  hspi1.Init.TIMode = SPI_TIMODE_DISABLE;
  hspi1.Init.CRCCalculation = SPI_CRCCALCULATION_DISABLE;
  hspi1.Init.CRCPolynomial = 10;
  if (HAL_SPI_Init(&hspi1) != HAL_OK)
  {
    Error_Handler();
  }

}

static void MX_SPI3_Init(void)
{

  /* SPI3 parameter configuration*/
  hspi3.Instance = SPI3;
  hspi3.Init.Mode = SPI_MODE_MASTER;
  hspi3.Init.Direction = SPI_DIRECTION_2LINES;
  hspi3.Init.DataSize = SPI_DATASIZE_8BIT;
  hspi3.Init.CLKPolarity = SPI_POLARITY_LOW;
  hspi3.Init.CLKPhase = SPI_PHASE_1EDGE;
  hspi3.Init.NSS = SPI_NSS_SOFT;
  hspi3.Init.BaudRatePrescaler = SPI_BAUDRATEPRESCALER_2;
  hspi3.Init.FirstBit = SPI_FIRSTBIT_MSB;
  hspi3.Init.TIMode = SPI_TIMODE_DISABLE;
  hspi3.Init.CRCCalculation = SPI_CRCCALCULATION_DISABLE;
  hspi3.Init.CRCPolynomial = 10;
  if (HAL_SPI_Init(&hspi3) != HAL_OK)
  {
    Error_Handler();
  }

}

static void MX_TIM4_Init(void)
{

  TIM_ClockConfigTypeDef sClockSourceConfig = {0};
  TIM_MasterConfigTypeDef sMasterConfig = {0};

  htim4.Instance = TIM4;
  htim4.Init.Prescaler = 50000;
  htim4.Init.CounterMode = TIM_COUNTERMODE_UP;
  htim4.Init.Period = 500;
  htim4.Init.ClockDivision = TIM_CLOCKDIVISION_DIV1;
  htim4.Init.AutoReloadPreload = TIM_AUTORELOAD_PRELOAD_DISABLE;
  if (HAL_TIM_Base_Init(&htim4) != HAL_OK)
  {
    Error_Handler();
  }
  sClockSourceConfig.ClockSource = TIM_CLOCKSOURCE_INTERNAL;
  if (HAL_TIM_ConfigClockSource(&htim4, &sClockSourceConfig) != HAL_OK)
  {
    Error_Handler();
  }
  sMasterConfig.MasterOutputTrigger = TIM_TRGO_RESET;
  sMasterConfig.MasterSlaveMode = TIM_MASTERSLAVEMODE_DISABLE;
  if (HAL_TIMEx_MasterConfigSynchronization(&htim4, &sMasterConfig) != HAL_OK)
  {
    Error_Handler();
  }

}

static void MX_TIM9_Init(void)
{

  TIM_OC_InitTypeDef sConfigOC = {0};

  htim9.Instance = TIM9;
  htim9.Init.Prescaler = 0;
  htim9.Init.CounterMode = TIM_COUNTERMODE_UP;
  htim9.Init.Period = 60000;
  htim9.Init.ClockDivision = TIM_CLOCKDIVISION_DIV1;
  htim9.Init.AutoReloadPreload = TIM_AUTORELOAD_PRELOAD_DISABLE;
  if (HAL_TIM_PWM_Init(&htim9) != HAL_OK)
  {
    Error_Handler();
  }
  sConfigOC.OCMode = TIM_OCMODE_PWM1;
  sConfigOC.Pulse = 30000;
  sConfigOC.OCPolarity = TIM_OCPOLARITY_HIGH;
  sConfigOC.OCFastMode = TIM_OCFAST_DISABLE;
  if (HAL_TIM_PWM_ConfigChannel(&htim9, &sConfigOC, TIM_CHANNEL_1) != HAL_OK)
  {
    Error_Handler();
  }
  if (HAL_TIM_PWM_ConfigChannel(&htim9, &sConfigOC, TIM_CHANNEL_2) != HAL_OK)
  {
    Error_Handler();
  }
  HAL_TIM_MspPostInit(&htim9);

}

static void MX_TIM10_Init(void)
{

  htim10.Instance = TIM10;
  htim10.Init.Prescaler = 50000;
  htim10.Init.CounterMode = TIM_COUNTERMODE_UP;
  htim10.Init.Period = 50;
  htim10.Init.ClockDivision = TIM_CLOCKDIVISION_DIV1;
  htim10.Init.AutoReloadPreload = TIM_AUTORELOAD_PRELOAD_DISABLE;
  if (HAL_TIM_Base_Init(&htim10) != HAL_OK)
  {
    Error_Handler();
  }

}

static void MX_TIM11_Init(void)
{

  TIM_OC_InitTypeDef sConfigOC = {0};

  htim11.Instance = TIM11;
  htim11.Init.Prescaler = 0;
  htim11.Init.CounterMode = TIM_COUNTERMODE_UP;
  htim11.Init.Period = 65535;
  htim11.Init.ClockDivision = TIM_CLOCKDIVISION_DIV1;
  htim11.Init.AutoReloadPreload = TIM_AUTORELOAD_PRELOAD_DISABLE;
  if (HAL_TIM_Base_Init(&htim11) != HAL_OK)
  {
    Error_Handler();
  }
  if (HAL_TIM_PWM_Init(&htim11) != HAL_OK)
  {
    Error_Handler();
  }
  sConfigOC.OCMode = TIM_OCMODE_PWM1;
  sConfigOC.Pulse = 0;
  sConfigOC.OCPolarity = TIM_OCPOLARITY_HIGH;
  sConfigOC.OCFastMode = TIM_OCFAST_DISABLE;
  if (HAL_TIM_PWM_ConfigChannel(&htim11, &sConfigOC, TIM_CHANNEL_1) != HAL_OK)
  {
    Error_Handler();
  }
  HAL_TIM_MspPostInit(&htim11);

}

static void MX_USART1_UART_Init(void)
{

  huart1.Instance = USART1;
  huart1.Init.BaudRate = 9600;
  huart1.Init.WordLength = UART_WORDLENGTH_8B;
  huart1.Init.StopBits = UART_STOPBITS_1;
  huart1.Init.Parity = UART_PARITY_NONE;
  huart1.Init.Mode = UART_MODE_TX_RX;
  huart1.Init.HwFlowCtl = UART_HWCONTROL_NONE;
  huart1.Init.OverSampling = UART_OVERSAMPLING_16;
  if (HAL_UART_Init(&huart1) != HAL_OK)
  {
    Error_Handler();
  }

}

static void MX_DMA_Init(void)
{

  /* DMA controller clock enable */
  __HAL_RCC_DMA2_CLK_ENABLE();

  /* DMA interrupt init */
  /* DMA2_Stream0_IRQn interrupt configuration */
  HAL_NVIC_SetPriority(DMA2_Stream0_IRQn, 0, 0);
  HAL_NVIC_EnableIRQ(DMA2_Stream0_IRQn);

}

static void MX_GPIO_Init(void)
{
  GPIO_InitTypeDef GPIO_InitStruct = {0};

  /* GPIO Ports Clock Enable */
  __HAL_RCC_GPIOC_CLK_ENABLE();
  __HAL_RCC_GPIOH_CLK_ENABLE();
  __HAL_RCC_GPIOA_CLK_ENABLE();
  __HAL_RCC_GPIOB_CLK_ENABLE();

  /*Configure GPIO pin Output Level */
  HAL_GPIO_WritePin(GPIOC, GPIO_PIN_13, GPIO_PIN_RESET);

  /*Configure GPIO pin Output Level */
  HAL_GPIO_WritePin(GPIOB, TFT_CS_Pin|TFT_RST_Pin|TFT_DC_Pin|RF_SET_Pin
                          |SD_CS_Pin, GPIO_PIN_RESET);

  /*Configure GPIO pin Output Level */
  HAL_GPIO_WritePin(RF_CS_GPIO_Port, RF_CS_Pin, GPIO_PIN_RESET);

  /*Configure GPIO pin : PC13 */
  GPIO_InitStruct.Pin = GPIO_PIN_13;
  GPIO_InitStruct.Mode = GPIO_MODE_OUTPUT_PP;
  GPIO_InitStruct.Pull = GPIO_NOPULL;
  GPIO_InitStruct.Speed = GPIO_SPEED_FREQ_LOW;
  HAL_GPIO_Init(GPIOC, &GPIO_InitStruct);

  /*Configure GPIO pins : PB0 BUT_Pin */
  GPIO_InitStruct.Pin = GPIO_PIN_0|BUT_Pin;
  GPIO_InitStruct.Mode = GPIO_MODE_INPUT;
  GPIO_InitStruct.Pull = GPIO_PULLUP;
  HAL_GPIO_Init(GPIOB, &GPIO_InitStruct);

  /*Configure GPIO pins : TFT_CS_Pin TFT_DC_Pin */
  GPIO_InitStruct.Pin = TFT_CS_Pin|TFT_DC_Pin;
  GPIO_InitStruct.Mode = GPIO_MODE_OUTPUT_PP;
  GPIO_InitStruct.Pull = GPIO_NOPULL;
  GPIO_InitStruct.Speed = GPIO_SPEED_FREQ_HIGH;
  HAL_GPIO_Init(GPIOB, &GPIO_InitStruct);

  /*Configure GPIO pins : TFT_RST_Pin RF_SET_Pin */
  GPIO_InitStruct.Pin = TFT_RST_Pin|RF_SET_Pin;
  GPIO_InitStruct.Mode = GPIO_MODE_OUTPUT_PP;
  GPIO_InitStruct.Pull = GPIO_NOPULL;
  GPIO_InitStruct.Speed = GPIO_SPEED_FREQ_LOW;
  HAL_GPIO_Init(GPIOB, &GPIO_InitStruct);

  /*Configure GPIO pin : PIN_R_Pin */
  GPIO_InitStruct.Pin = PIN_R_Pin;
  GPIO_InitStruct.Mode = GPIO_MODE_INPUT;
  GPIO_InitStruct.Pull = GPIO_NOPULL;
  HAL_GPIO_Init(PIN_R_GPIO_Port, &GPIO_InitStruct);

  /*Configure GPIO pin : RF_CS_Pin */
  GPIO_InitStruct.Pin = RF_CS_Pin;
  GPIO_InitStruct.Mode = GPIO_MODE_OUTPUT_PP;
  GPIO_InitStruct.Pull = GPIO_NOPULL;
  GPIO_InitStruct.Speed = GPIO_SPEED_FREQ_LOW;
  HAL_GPIO_Init(RF_CS_GPIO_Port, &GPIO_InitStruct);

  /*Configure GPIO pin : BUT2_Pin */
  GPIO_InitStruct.Pin = BUT2_Pin;
  GPIO_InitStruct.Mode = GPIO_MODE_INPUT;
  GPIO_InitStruct.Pull = GPIO_PULLUP;
  HAL_GPIO_Init(BUT2_GPIO_Port, &GPIO_InitStruct);

  /*Configure GPIO pin : SD_CS_Pin */
  GPIO_InitStruct.Pin = SD_CS_Pin;
  GPIO_InitStruct.Mode = GPIO_MODE_OUTPUT_PP;
  GPIO_InitStruct.Pull = GPIO_NOPULL;
  GPIO_InitStruct.Speed = GPIO_SPEED_FREQ_MEDIUM;
  HAL_GPIO_Init(SD_CS_GPIO_Port, &GPIO_InitStruct);

}

/* USER CODE BEGIN 4 */
//----------------------------------------------------------
// Прерывания-счетчик полученных данных (срабатывает когда получаем данные)
void HAL_UART_RxCpltCallback(UART_HandleTypeDef *huart)
{
	if(huart == &huart1)
	{
		if(resive_OK == 99) resive_OK = 0;
		resive_OK += 1;
	}
}
//----------------------------------------------------------
void HAL_TIM_PeriodElapsedCallback(TIM_HandleTypeDef *htim)
{
	  if (htim == &htim9)
	  {
		  Timer1++;
	  }
	  if (htim == &htim4)
	  {
		  if(SIGNAL == true) HAL_GPIO_TogglePin(GPIOC, GPIO_PIN_13);
		  for(int i = 0; i < 3 ; i++)	// Постоянная проверка положения джойстика
		  {
		    u[i] = (float)(data[i]);
		  }
		  if(flag_PWM_BLK == false)
		  {
			  if(flag_Menu == true || flag_Setings == true)
			  {
				  if(u[0] < 60 && u[1] < 140 && u[1] > 110) // джойстик вниз
				  {
					  if(flag_punkt != 4) flag_punkt++;
					  else flag_punkt = 4;
				  }

				  if(u[0] > 180 && u[1] < 140 && u[1] > 110) // джойстик вверх
				  {
					  if(flag_punkt != 1) flag_punkt--;
					  else flag_punkt = 1;
				  }
			  }
		  }

		  if(flag_PWM_BLK == true) // выбор положения по горизонтали
		  {
			  if((u[1] < 60 && u[0] < 140 && u[0] > 110) && ((pers > 0) && (pers <= 100))) // влево
			  {
				  sost = TIM11->CCR1;
				  TIM11->CCR1 = TIM11->CCR1 - 13017;

				  pers = pers - 20;
			  }
			  if((u[1] > 180 && u[0] < 140 && u[0] > 110) && (pers < 100) && (pers >= 0)) // вправо
			  {
				  sost = TIM11->CCR1;
				  TIM11->CCR1 = TIM11->CCR1 + 13017;

				  pers = pers + 20;
			  }
		  }
	  }
	  if (htim == &htim10)
	  {
		  if(HAL_GPIO_ReadPin(GPIOB, GPIO_PIN_13) == GPIO_PIN_RESET)
		  {
			  servoData = 1;
			  if(flag_Menu == true) fillCircle(148, 35, 5, YELLOW);
			  else fillCircle(148, 35, 5, BLACK);
			  HAL_UART_Transmit(&huart1, (uint8_t*) &servoData, sizeof(1) , 100);
			  /////////////////////////////////
			  SIGNAL = true;
		  }
		  SIGNAL = false;
		  u[2] = ((float)data[2])*3.3/256;
		  Batdata = u[2]* (128 / 3.3); // число от 0 до 128 // значение заряда акума. в диапазоне 0 - 128
	  }
}

void HAL_ADC_ConvCpltCallback(ADC_HandleTypeDef* hadc)
{

}

//----------------------------------------------------------

/* USER CODE END 4 */

void Error_Handler(void)
{
  __disable_irq();
  while (1)
  {
  }
}
